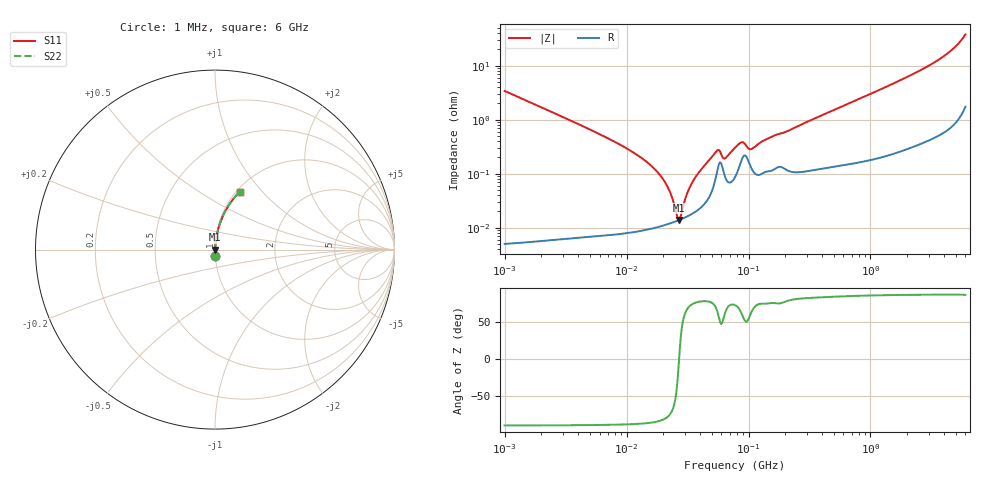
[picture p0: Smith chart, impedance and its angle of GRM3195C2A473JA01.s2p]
!Murata Part Number: GRM3195C2A473JA01
!These Parameters are Measured in Series Mode Connection
!Data Generated on Mar 30, 2021
!  o--ll--o
!Port1  Port2
!  o------o
!Operation Temp=25[degC], DC Bias Voltage=0[V]
!Freq. Start=1000[kHz] Stop=6[GHz] 401[Steps]
# Hz S RI R 50
!Freq.(Hz) S11(Real) S11(Imag) S21(Real) S21(Imag) S12(Real) S12(Imag) S22(Real) S22(Imag)
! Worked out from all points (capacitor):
!   401 points, 1 MHz to 6 GHz, reference 50 ohm
!   read as one part in series: C = 46.6 nF near 1.044 MHz
!   lowest |Z| = 13.9 mohm at 26.68 MHz (marker M1)
!   series resonance near 26.95 MHz, so ESL is about 750 pH
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1000000  0.00121 -0.034  0.9988 0.034  0.9988 0.034  0.00121 -0.034
4293785  0.000125 -0.00774  0.9999 0.00774  0.9999 0.00774  0.000125 -0.00774
1.117988e7  8.81e-05 -0.00253  0.9999 0.00253  0.9999 0.00253  8.81e-05 -0.00253
1.843659e7  0.000105 -0.000989  0.9999 0.000989  0.9999 0.000989  0.000105 -0.000989
2.242276e7  0.000119 -0.000472  0.9999 0.000472  0.9999 0.000472  0.000119 -0.000472
2.554826e7  0.000131 -0.000137  0.9999 0.000137  0.9999 0.000137  0.000131 -0.000137
2.668407e7  0.000137 -2.54e-05  0.9999 2.54e-05  0.9999 2.54e-05  0.000137 -2.54e-05
2.787038e7  0.000142 8.68e-05  0.9999 -8.68e-05  0.9999 -8.68e-05  0.000142 8.68e-05
3.040356e7  0.000155 0.000314  0.9998 -0.000314  0.9998 -0.000314  0.000155 0.000314
3.316698e7  0.000172 0.000548  0.9998 -0.000548  0.9998 -0.000548  0.000172 0.000548
4.12249e7  0.000243 0.0012  0.9998 -0.0012  0.9998 -0.0012  0.000243 0.0012
5.469524e7  0.00099 0.00242  0.999 -0.00242  0.999 -0.00242  0.00099 0.00242
5.712686e7  0.0015 0.00229  0.9985 -0.00229  0.9985 -0.00229  0.0015 0.00229
6.368941e7  0.000928 0.00165  0.9991 -0.00165  0.9991 -0.00165  0.000928 0.00165
7.745967e7  0.000865 0.0029  0.9991 -0.0029  0.9991 -0.0029  0.000865 0.0029
8.825674e7  0.00186 0.00333  0.9981 -0.00333  0.9981 -0.00333  0.00186 0.00333
1.073387e8  0.00118 0.00266  0.9988 -0.00266  0.9988 -0.00266  0.00118 0.00266
1.363501e8  0.00108 0.00408  0.9989 -0.00408  0.9989 -0.00408  0.00108 0.00408
3.325952e8  0.00125 0.00996  0.9988 -0.00996  0.9988 -0.00996  0.00125 0.00996
1.428092e9  0.00405 0.0429  0.996 -0.0429  0.996 -0.0429  0.00405 0.0429
3.638376e9  0.0214 0.1266  0.9786 -0.1266  0.9786 -0.1266  0.0214 0.1266
6e9  0.1368 0.3214  0.8632 -0.3214  0.8632 -0.3214  0.1368 0.3214
